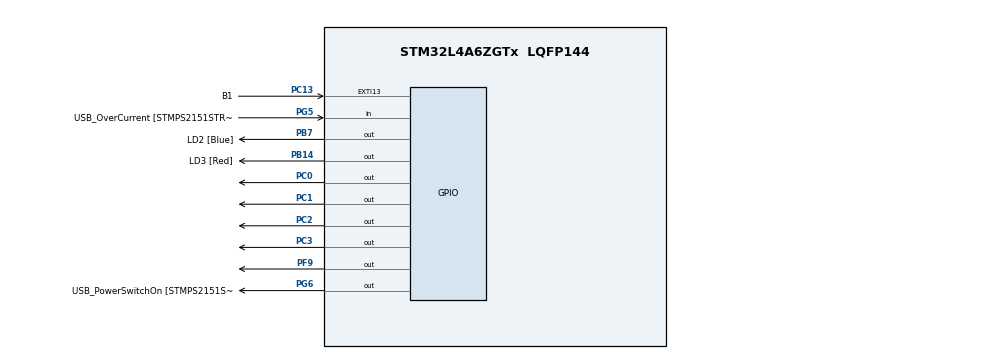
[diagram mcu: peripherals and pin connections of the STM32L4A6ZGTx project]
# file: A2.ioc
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Mcu.Family=STM32L4
Mcu.Name=STM32L4A6ZGTx
Mcu.Package=LQFP144
NVIC.PriorityGroup=NVIC_PRIORITYGROUP_4
PA10.GPIO_Label=USB_ID
PA10.Signal=USB_OTG_FS_ID
PA11.GPIO_Label=USB_DM
PA11.Signal=USB_OTG_FS_DM
PA12.GPIO_Label=USB_DP
PA12.Signal=USB_OTG_FS_DP
PA13\ (JTMS/SWDIO).GPIO_Label=TMS
PA13\ (JTMS/SWDIO).Mode=Trace_Asynchronous_SW
PA13\ (JTMS/SWDIO).Signal=SYS_JTMS-SWDIO
PA14\ (JTCK/SWCLK).GPIO_Label=TCK
PA14\ (JTCK/SWCLK).Mode=Trace_Asynchronous_SW
PA14\ (JTCK/SWCLK).Signal=SYS_JTCK-SWCLK
PA8.GPIO_Label=USB_SOF [TP1]
PA8.Signal=USB_OTG_FS_SOF
PA9.GPIO_Label=USB_VBUS
PA9.Signal=USB_OTG_FS_VBUS
PB14.GPIO_Label=LD3 [Red]
PB14.Signal=GPIO_Output
PB3\ (JTDO/TRACESWO).GPIO_Label=SWO
PB3\ (JTDO/TRACESWO).Mode=Trace_Asynchronous_SW
PB3\ (JTDO/TRACESWO).Signal=SYS_JTDO-SWO
PB7.GPIO_Label=LD2 [Blue]
PB7.Signal=GPIO_Output
PC0.Signal=GPIO_Output
PC1.Signal=GPIO_Output
PC13.GPIO_Label=B1
PC13.Signal=GPXTI13
PC14-OSC32_IN\ (PC14).Signal=RCC_OSC32_IN
PC15-OSC32_OUT\ (PC15).Signal=RCC_OSC32_OUT
PC2.Signal=GPIO_Output
PC3.Signal=GPIO_Output
PF9.Signal=GPIO_Output
PG5.GPIO_Label=USB_OverCurrent [STMPS2151STR_FAULT]
PG5.Signal=GPIO_Input
PG6.GPIO_Label=USB_PowerSwitchOn [STMPS2151STR_EN]
PG6.Signal=GPIO_Output
PG7.GPIO_Label=STLK_RX [STM32F103CBT6_PA3]
PG7.Signal=LPUART1_TX
PG8.GPIO_Label=STLK_TX [STM32F103CBT6_PA2]
PG8.Signal=LPUART1_RX
PH1-OSC_OUT\ (PH1).Signal=RCC_OSC_OUT
ProjectManager.HeapSize=0x200
ProjectManager.StackSize=0x400
ProjectManager.TargetToolchain=STM32CubeIDE
RCC.APB1CLKDivider=RCC_HCLK_DIV2
RCC.APB1Freq_Value=2000000
RCC.APB1TimFreq_Value=4000000
RCC.HSE_VALUE=8000000
RCC.HSI48_VALUE=48000000
RCC.HSI_VALUE=16000000
RCC.LSE_VALUE=32768
RCC.MSI_VALUE=4000000
RCC.VCOOutputFreq_Value=32000000
board=NUCLEO-L4A6ZG

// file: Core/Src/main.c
/* USER CODE BEGIN Header */
/**
  ******************************************************************************
  * @file           : main.c
  * @brief          : Main program body
  ******************************************************************************
  * @attention
  *
  * Copyright (c) 2024 STMicroelectronics.
  * All rights reserved.
  *
  * This software is licensed under terms that can be found in the LICENSE file
  * in the root directory of this software component.
  * If no LICENSE file comes with this software, it is provided AS-IS.
  *
  ******************************************************************************
  */
/* USER CODE END Header */
#include "main.h"

/* USER CODE BEGIN Includes */
#include "stdio.h"
#include "keypad.h"
/* USER CODE END Includes */

void SystemClock_Config(void);

int main(void)
{

  /* USER CODE BEGIN 1 */
	// configure GPIO pins PD3, PD4, PD5, PD6 for:
	// output mode, push-pull, no pull up or pull down, high speed
	RCC->AHB2ENR   |=  (RCC_AHB2ENR_GPIODEN);
	GPIOD->MODER   &= ~(GPIO_MODER_MODE3 | GPIO_MODER_MODE4 | GPIO_MODER_MODE5 | GPIO_MODER_MODE6 );
	GPIOD->MODER   |=  (GPIO_MODER_MODE3_0 | GPIO_MODER_MODE4_0 | GPIO_MODER_MODE5_0 | GPIO_MODER_MODE6_0);
	GPIOD->OTYPER  &= ~(GPIO_OTYPER_OT3 | GPIO_OTYPER_OT4 | GPIO_OTYPER_OT5 | GPIO_OTYPER_OT6);
	GPIOD->PUPDR   &= ~(GPIO_PUPDR_PUPD3 | GPIO_PUPDR_PUPD4 | GPIO_PUPDR_PUPD5 | GPIO_PUPDR_PUPD6);
	GPIOD->OSPEEDR |=  ((3 << GPIO_OSPEEDR_OSPEED3_Pos) |
					  	(3 << GPIO_OSPEEDR_OSPEED4_Pos) |
					    (3 << GPIO_OSPEEDR_OSPEED5_Pos) |
					    (3 << GPIO_OSPEEDR_OSPEED6_Pos));

	 // preset  PD3, PD4, PD5, PD6 to 0
	GPIOD->BSRR |= (GPIO_PIN_3 | GPIO_PIN_4 | GPIO_PIN_5 | GPIO_PIN_6 );

	uint32_t lastKeypadValue;
  /* USER CODE END 1 */

  /* MCU Configuration--------------------------------------------------------*/

  /* Reset of all peripherals, Initializes the Flash interface and the Systick. */
  HAL_Init();

  /* Configure the system clock */
  SystemClock_Config();

  /* USER CODE BEGIN SysInit */

  //Enable keypad
  Keypad_Init();

  /* USER CODE END SysInit */

  /* Infinite loop */
  while (1)
  {
	  printf("%c \n",Keypad_Read());	  // arbitrary delay
	  lastKeypadValue = Keypad_Read();

	  if (lastKeypadValue == '*'){
		  GPIOD->ODR |= 0b01001000;
	  }
	  else if(lastKeypadValue == '#'){
		  GPIOD->ODR &= 0b00110000;
	  }
  }
}

void SystemClock_Config(void)
{
  RCC_OscInitTypeDef RCC_OscInitStruct = {0};
  RCC_ClkInitTypeDef RCC_ClkInitStruct = {0};

  /** Configure the main internal regulator output voltage
  */
  if (HAL_PWREx_ControlVoltageScaling(PWR_REGULATOR_VOLTAGE_SCALE1) != HAL_OK)
  {
    Error_Handler();
  }

  /** Initializes the RCC Oscillators according to the specified parameters
  * in the RCC_OscInitTypeDef structure.
  */
  RCC_OscInitStruct.OscillatorType = RCC_OSCILLATORTYPE_MSI;
  RCC_OscInitStruct.MSIState = RCC_MSI_ON;
  RCC_OscInitStruct.MSICalibrationValue = 0;
  RCC_OscInitStruct.MSIClockRange = RCC_MSIRANGE_6;
  RCC_OscInitStruct.PLL.PLLState = RCC_PLL_NONE;
  if (HAL_RCC_OscConfig(&RCC_OscInitStruct) != HAL_OK)
  {
    Error_Handler();
  }

  /** Initializes the CPU, AHB and APB buses clocks
  */
  RCC_ClkInitStruct.ClockType = RCC_CLOCKTYPE_HCLK|RCC_CLOCKTYPE_SYSCLK
                              |RCC_CLOCKTYPE_PCLK1|RCC_CLOCKTYPE_PCLK2;
  RCC_ClkInitStruct.SYSCLKSource = RCC_SYSCLKSOURCE_MSI;
  RCC_ClkInitStruct.AHBCLKDivider = RCC_SYSCLK_DIV1;
  RCC_ClkInitStruct.APB1CLKDivider = RCC_HCLK_DIV2;
  RCC_ClkInitStruct.APB2CLKDivider = RCC_HCLK_DIV1;

  if (HAL_RCC_ClockConfig(&RCC_ClkInitStruct, FLASH_LATENCY_0) != HAL_OK)
  {
    Error_Handler();
  }
}

/* USER CODE BEGIN 4 */

int __io_putchar(int ch) {
    ITM_SendChar(ch);
    return ch;
}

/* USER CODE END 4 */

void Error_Handler(void)
{
  __disable_irq();
  while (1)
  {
  }
}
